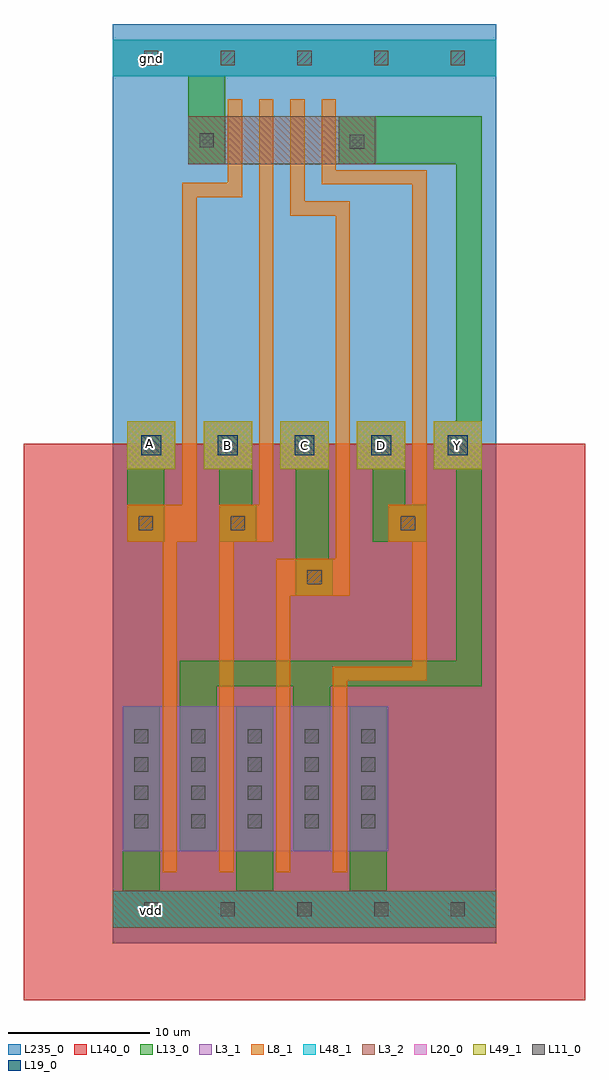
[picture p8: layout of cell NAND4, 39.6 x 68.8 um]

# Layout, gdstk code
import gdstk
lib = gdstk.Library(unit=1e-6, precision=1e-09)
def R(c, l, rs):  # rectangles x0, y0, x1, y1
    for r in rs: c.add(gdstk.rectangle(r[:2], r[2:], *l))
def A(c, l, x, y, w, h, nx, ny, dx, dy):  # array of equal rectangles
    R(c, l, [(x+i*dx, y+j*dy, x+i*dx+w, y+j*dy+h) for i in range(nx) for j in range(ny)])
def P(c, l, *ps):  # polygons
    for p in ps: c.add(gdstk.Polygon(p, *l))
L3_1 = (3, 1)
L3_2 = (3, 2)
L8_1 = (8, 1)
L11_0 = (11, 0)
L13_0 = (13, 0)
L19_0 = (19, 0)
L20_0 = (20, 0)
L48_1 = (48, 1)
L49_1 = (49, 1)
L140_0 = (140, 0)
L235_0 = (235, 0)

nand4 = lib.new_cell('NAND4')
R(nand4, L3_1, [(0.7,-58.3,7.3,-48.1), (4.7,-58.3,11.3,-48.1), (11.3,-58.3,19.4,-48.1), (0,-3.7,27,-1.1)])
R(nand4, L3_2, [(0,-63.7,27,-61.1), (5.3,-9.9,18.5,-6.5)])
P(nand4, L8_1, [(11.5,-59.8),(11.5,-37.7),(15.7,-37.7),(15.7,-13.5),(12.5,-13.5),(12.5,-5.3),(13.5,-5.3),(13.5,-12.5),(16.7,-12.5),(16.7,-40.3),(12.5,-40.3),(12.5,-59.8)],
  [(15.5,-59.8),(15.5,-45.3),(21.1,-45.3),(21.1,-36.5),(19.4,-36.5),(19.4,-33.9),(21.1,-33.9),(21.1,-11.3),(14.7,-11.3),(14.7,-5.3),(15.7,-5.3),(15.7,-10.3),(22.1,-10.3),(22.1,-46.3),(16.5,-46.3),(16.5,-59.8)],
  [(7.5,-59.8),(7.5,-33.9),(10.3,-33.9),(10.3,-5.3),(11.3,-5.3),(11.3,-36.5),(8.5,-36.5),(8.5,-59.8)],
  [(3.5,-59.8),(3.5,-36.5),(1,-36.5),(1,-33.9),(4.9,-33.9),(4.9,-11.2),(8.1,-11.2),(8.1,-5.3),(9.1,-5.3),(9.1,-12.2),(5.9,-12.2),(5.9,-36.5),(4.5,-36.5),(4.5,-59.8)])
A(nand4, L11_0, 1.5, -56.7, 1, 1, 5, 4, 4, 2)
R(nand4, L11_0, [(2.2,-62.9,3.2,-61.9), (2.2,-62.9,3.2,-61.9), (7.6,-62.9,8.6,-61.9), (7.6,-62.9,8.6,-61.9), (7.6,-62.9,8.6,-61.9), (7.6,-62.9,8.6,-61.9), (13,-62.9,14,-61.9), (13,-62.9,14,-61.9), (18.4,-62.9,19.4,-61.9), (18.4,-62.9,19.4,-61.9), (23.8,-62.9,24.8,-61.9), (13.7,-39.5,14.7,-38.5), (1.8,-35.7,2.8,-34.7), (8.3,-35.7,9.3,-34.7), (20.3,-35.7,21.3,-34.7), (16.7,-8.8,17.7,-7.8), (6.1,-8.7,7.1,-7.7), (2.2,-2.9,3.2,-1.9), (7.6,-2.9,8.6,-1.9), (7.6,-2.9,8.6,-1.9), (13,-2.9,14,-1.9), (13,-2.9,14,-1.9), (18.4,-2.9,19.4,-1.9), (18.4,-2.9,19.4,-1.9), (23.8,-2.9,24.8,-1.9)])
A(nand4, L13_0, 0.7, -61.1, 2.6, 13, 3, 1, 8, 0)
R(nand4, L13_0, [(0,-63.7,27,-61.1), (12.7,-58.3,15.3,-46.7), (1,-36.5,3.6,-31.4), (1,-31.4,4.4,-28), (1,-31.4,4.4,-28), (6.4,-31.4,9.8,-28), (6.4,-31.4,9.8,-28), (11.8,-31.4,15.2,-28), (11.8,-31.4,15.2,-28), (17.2,-31.4,20.6,-28), (17.2,-31.4,20.6,-28), (22.6,-31.4,26,-28), (5.3,-9.9,7.9,-3.7), (0,-3.7,27,-1.1)])
P(nand4, L13_0, [(12.9,-40.3),(12.9,-31.4),(15.2,-31.4),(15.2,-37.7),(15.5,-37.7),(15.5,-40.3)],
  [(18.3,-36.5),(18.3,-31.4),(20.6,-31.4),(20.6,-33.9),(22.1,-33.9),(22.1,-36.5)],
  [(4.7,-58.3),(4.7,-44.9),(24.2,-44.9),(24.2,-31.4),(22.6,-31.4),(22.6,-28),(24.2,-28),(24.2,-9.9),(15.9,-9.9),(15.9,-6.5),(26,-6.5),(26,-46.7),(7.3,-46.7),(7.3,-58.3)],
  [(7.5,-36.5),(7.5,-31.4),(9.8,-31.4),(9.8,-33.9),(10.1,-33.9),(10.1,-36.5)])
A(nand4, L19_0, 2, -30.4, 1.4, 1.4, 5, 1, 5.4, 0)
A(nand4, L20_0, 1, -31.4, 3.4, 3.4, 5, 1, 5.4, 0)
R(nand4, L48_1, [(0,-63.7,27,-61.1), (0,-3.7,27,-1.1)])
A(nand4, L49_1, 1, -31.4, 3.4, 3.4, 5, 1, 5.4, 0)
R(nand4, L140_0, [(-6.3,-68.8,33.3,-29.6)])
R(nand4, L235_0, [(0,-64.8,27,0)])
nand4.add(gdstk.Label('gnd', (2.7,-2.4), layer=48, texttype=0))
nand4.add(gdstk.Label('vdd', (2.7,-62.5), layer=48, texttype=0))
nand4.add(gdstk.Label('Y', (24.3,-29.7), layer=49, texttype=0))
nand4.add(gdstk.Label('C', (13.5,-29.7), layer=49, texttype=0))
nand4.add(gdstk.Label('D', (18.9,-29.7), layer=49, texttype=0))
nand4.add(gdstk.Label('A', (2.6,-29.6), layer=49, texttype=0))
nand4.add(gdstk.Label('B', (8.1,-29.7), layer=49, texttype=0))

lib.write_gds('NAND4.gds')
